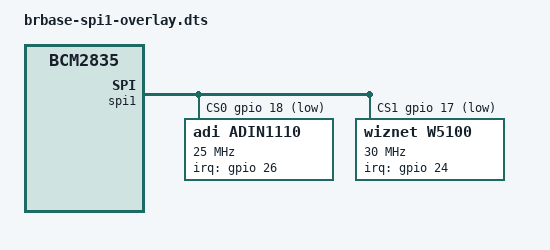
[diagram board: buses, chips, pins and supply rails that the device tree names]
// Device tree overlay for https://kws-computer.de/produkte-2/bridgeth/base
// for details see ...


/dts-v1/;
/plugin/;

/ {
    compatible = "brcm,bcm2835";

    fragment@0 {
        target = <&gpio>;
        __overlay__ {
            spi1_pins: spi1_pins {
                brcm,pins = <19 20 21>;
                brcm,function = <3>; /* alt4 */
            };

            spi1_cs_pins: spi1_cs_pins {
                brcm,pins = <18 17>;
                brcm,function = <1>; /* output */
            };
        };
    };

    fragment@1 {
        target = <&spi1>;
        frag1: __overlay__ {
            /* needed to avoid dtc warning */
            #address-cells = <1>;
            #size-cells = <0>;
            pinctrl-names = "default";
            pinctrl-0 = <&spi1_pins &spi1_cs_pins>;
            cs-gpios = <&gpio 18 1>, <&gpio 17 1>;
            status = "okay";

            adin1110: adin1110@0{
                compatible = "adi,adin1110";
                reg = <0>; /* CE0 */
                interrupt-parent = <&gpio>;
                interrupts = <26 8>; /* IRQ_TYPE_LEVEL_LOW */
                spi-max-frequency = <25000000>;
                adi,spi-crc;
                mac-address = [ 00 11 22 33 44 55 ];
                status = "okay";
                phy@1 {
                    compatible = "ethernet-phy-id0283.bc91";
                    reg = <0x0>;
                };
            };

            w5100: w5100@1{
                compatible = "wiznet,w5100";
                reg = <1>;
                pinctrl-names = "default";
                pinctrl-0 = <&w5100_pins>;
                interrupt-parent = <&gpio>;
                interrupts = <24 0x8>;
                spi-max-frequency = <30000000>;
                status = "okay";
            };
        };
    };

    fragment@4 {
        target = <&gpio>;
        __overlay__ {
            w5100_pins: w5100_pins {
                brcm,pins = <24>;
                brcm,function = <0>; /* in */
                brcm,pull = <0>; /* none */
            };
        };
    };

    __overrides__ {
        cs0_pin  = <&spi1_cs_pins>,"brcm,pins:0",
                <&frag1>,"cs-gpios:4";
        cs1_pin  = <&spi1_cs_pins>,"brcm,pins:4",
                <&frag1>,"cs-gpios:16";
        cs0_spidev = <&adin1110>,"status";
        cs1_spidev = <&w5100>,"status";

        int_pin = <&w5100>, "interrupts:0",
                    <&w5100_pins>, "brcm,pins:0";
        speed   = <&w5100>, "spi-max-frequency:0";
        cs      = <&w5100>, "reg:0",
                <0>, "!0=1";
    };
};
